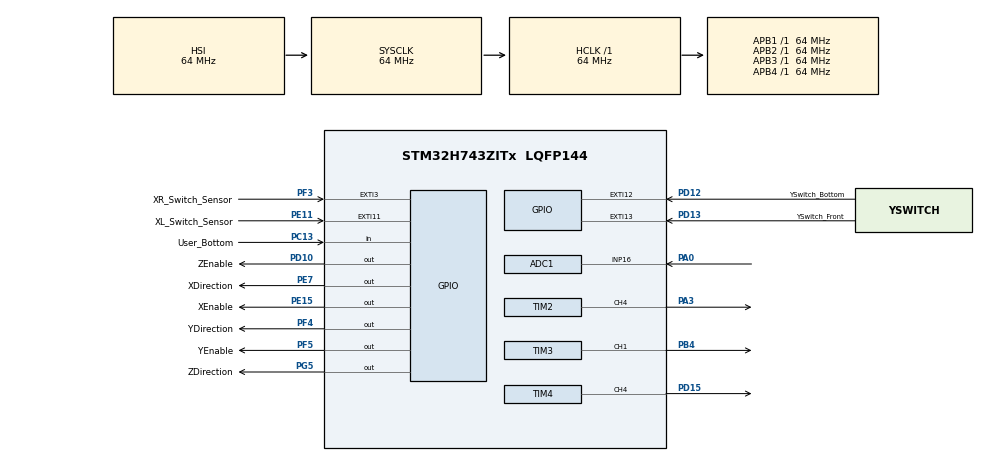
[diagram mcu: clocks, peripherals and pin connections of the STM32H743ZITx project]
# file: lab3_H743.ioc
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ADC1.Channel-0\#ChannelRegularConversion=ADC_CHANNEL_16
ADC1.NbrOfConversionFlag=1
ADC1.OffsetNumber-0\#ChannelRegularConversion=ADC_OFFSET_NONE
ADC1.OffsetSignedSaturation-0\#ChannelRegularConversion=DISABLE
ADC1.Rank-0\#ChannelRegularConversion=1
ADC1.SamplingTime-0\#ChannelRegularConversion=ADC_SAMPLETIME_1CYCLE_5
ADC1.master=1
Mcu.Family=STM32H7
Mcu.Name=STM32H743ZITx
Mcu.Package=LQFP144
NVIC.EXTI15_10_IRQn=true\:0\:0\:false\:false\:true\:true\:true\:true
NVIC.EXTI3_IRQn=true\:0\:0\:false\:false\:true\:true\:true\:true
NVIC.PriorityGroup=NVIC_PRIORITYGROUP_4
NVIC.TIM2_IRQn=true\:1\:0\:true\:false\:true\:true\:true\:true
NVIC.TIM3_IRQn=true\:1\:0\:true\:false\:true\:true\:true\:true
NVIC.TIM4_IRQn=true\:1\:0\:true\:false\:true\:true\:true\:true
PA0.Mode=IN16-Single-Ended
PA0.Signal=ADC1_INP16
PA3.Signal=S_TIM2_CH4
PB4\ (NJTRST).Signal=S_TIM3_CH1
PC13.GPIO_Label=User_Bottom
PC13.Signal=GPIO_Input
PD10.GPIO_Label=ZEnable
PD10.Signal=GPIO_Output
PD12.GPIO_Label=YSwitch_Bottom
PD12.GPIO_ModeDefaultEXTI=GPIO_MODE_IT_FALLING
PD12.Signal=GPXTI12
PD13.GPIO_Label=YSwitch_Front
PD13.GPIO_ModeDefaultEXTI=GPIO_MODE_IT_FALLING
PD13.Signal=GPXTI13
PD15.Signal=S_TIM4_CH4
PE11.GPIO_Label=XL_Switch_Sensor
PE11.GPIO_ModeDefaultEXTI=GPIO_MODE_IT_FALLING
PE11.Signal=GPXTI11
PE15.GPIO_Label=XEnable
PE15.Signal=GPIO_Output
PE7.GPIO_Label=XDirection
PE7.Signal=GPIO_Output
PF3.GPIO_Label=XR_Switch_Sensor
PF3.GPIO_ModeDefaultEXTI=GPIO_MODE_IT_FALLING
PF3.Signal=GPXTI3
PF4.GPIO_Label=YDirection
PF4.Signal=GPIO_Output
PF5.GPIO_Label=YEnable
PF5.Signal=GPIO_Output
PG5.GPIO_Label=ZDirection
PG5.Signal=GPIO_Output
ProjectManager.HeapSize=0x200
ProjectManager.StackSize=0x400
ProjectManager.TargetToolchain=STM32CubeIDE
RCC.ADCFreq_Value=75000000
RCC.APB1Freq_Value=64000000
RCC.APB2Freq_Value=64000000
RCC.APB3Freq_Value=64000000
RCC.APB4Freq_Value=64000000
RCC.CortexFreq_Value=64000000
RCC.DIVM2=4
RCC.DIVN2=9
RCC.HCLKFreq_Value=64000000
RCC.PLL2FRACN=3072
RCC.SYSCLKFreq_VALUE=64000000
RCC.USBFreq_Value=129000000
SH.S_TIM2_CH4.0=TIM2_CH4,PWM Generation4 CH4
SH.S_TIM3_CH1.0=TIM3_CH1,PWM Generation1 CH1
SH.S_TIM4_CH4.0=TIM4_CH4,PWM Generation4 CH4
TIM2.Channel-PWM\ Generation4\ CH4=TIM_CHANNEL_4
TIM2.Period=0
TIM2.Prescaler=64-1
TIM3.Channel-PWM\ Generation1\ CH1=TIM_CHANNEL_1
TIM3.Period=0
TIM3.Prescaler=64-1
TIM4.Channel-PWM\ Generation4\ CH4=TIM_CHANNEL_4
TIM4.Period=0
TIM4.Prescaler=64-1
VP_TIM2_VS_ClockSourceINT.Mode=Internal
VP_TIM3_VS_ClockSourceINT.Mode=Internal
VP_TIM4_VS_ClockSourceINT.Mode=Internal
board=custom

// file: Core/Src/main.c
/* USER CODE BEGIN Header */
/**
  ******************************************************************************
  * @file           : main.c
  * @brief          : Main program body
  ******************************************************************************
  * @attention
  *
  * Copyright (c) 2024 STMicroelectronics.
  * All rights reserved.
  *
  * This software is licensed under terms that can be found in the LICENSE file
  * in the root directory of this software component.
  * If no LICENSE file comes with this software, it is provided AS-IS.
  *
  ******************************************************************************
  */
/* USER CODE END Header */
#include "main.h"
#include "adc.h"
#include "tim.h"
#include "gpio.h"

/* USER CODE BEGIN Includes */
#include "stepmotor_def.h"
/* USER CODE END Includes */

void SystemClock_Config(void);

/* USER CODE BEGIN 0 */

void HAL_TIM_PWM_PulseFinishedCallback(TIM_HandleTypeDef *htim){
	if(htim->Instance == TIM2){
		if(circle_info.circle_lock){
			if((circle_info.circleisrunning) && (++circle_info.curpuls < circle_info.totalpuls)){
				circle_handler_method2();
			} else {
				circle_info.circleisrunning = 0;
				HAL_TIM_PWM_Stop(&htim2, TIM_CHANNEL_4);
			}
			return;
		}

#if 1	//section for normal part
		if((xstep_motor_info.muststop == 0) && (xstep_motor_info.isrunning)){
			if(++xstep_motor_info.cur_pulse >= xstep_motor_info.req_pulse){
				HAL_TIM_PWM_Stop(&htim2, TIM_CHANNEL_4);
				xstep_motor_info.isrunning = 0;
				return;
			}
#if		STARTDRAW
			else {
				/** do nothing **/
				return;
			}
#endif
			switch(xstep_motor_info.dtype){
				case LINE:
					xstep_move_handler(&xstep_motor_info, &xmotor_cnt_info, xstep_motor_info.cur_pulse);
					break;
				case CIRCLE:
					xstep_circle_handler(xstep_motor_info.cur_pulse);
					break;
				default:
					break;
			}
		} else {
			xstep_motor_info.isrunning = 0;
			HAL_TIM_PWM_Stop(&htim2, TIM_CHANNEL_4);
			return;
		}
#endif // step move

	} else if(htim->Instance == TIM3){
		if(circle_info.circle_lock){
			if((circle_info.circleisrunning) && (++circle_info.curpuls < circle_info.totalpuls)){
				circle_handler_method2();
			} else {
				circle_info.circleisrunning = 0;
				HAL_TIM_PWM_Stop(&htim3, TIM_CHANNEL_1);
			}
			return;
		}

#if 1	// section for normal part
		if((ystep_motor_info.muststop == 0) && (ystep_motor_info.isrunning)){
			if(++ystep_motor_info.cur_pulse >= ystep_motor_info.req_pulse){
				HAL_TIM_PWM_Stop(&htim3, TIM_CHANNEL_1);
				ystep_motor_info.isrunning = 0;
				return;
			}
#if		STARTDRAW
			else {
				/** do nothing **/
				return;
			}
#endif
			switch(xstep_motor_info.dtype){
				case LINE:
					ystep_move_handler(&ystep_motor_info, &ymotor_cnt_info, ystep_motor_info.cur_pulse);
					break;
				case CIRCLE:
					ystep_circle_handler(ystep_motor_info.cur_pulse);
					break;
				default:
					break;
			}
		} else {
			ystep_motor_info.isrunning = 0;
			HAL_TIM_PWM_Stop(&htim3, TIM_CHANNEL_1);
			return;
		}
#endif // step move

	} else {
		/* do nothing */
	}
}

void HAL_GPIO_EXTI_Callback(uint16_t GPIO_Pin){
	if(GPIO_Pin == XL_Switch_Sensor_Pin){
		if(xstep_motor_info.direction == XLeft_To_LX1){
		  HAL_TIM_PWM_Stop(&htim2, TIM_CHANNEL_4);
		  xstep_motor_info.l_signal = Switch_Limit_On;
		  xstep_motor_info.muststop = 1;
		}
	} else if(GPIO_Pin == XR_Switch_Sensor_Pin){
		if(xstep_motor_info.direction == XRight_To_LX2){
		  HAL_TIM_PWM_Stop(&htim2, TIM_CHANNEL_4);
		  xstep_motor_info.r_signal = Switch_Limit_On;
		  xstep_motor_info.muststop = 1;
		}
	} else if(GPIO_Pin == YSwitch_Bottom_Pin){
		if(ystep_motor_info.direction == YLeft_To_LX1_Back){
			HAL_TIM_PWM_Stop(&htim3, TIM_CHANNEL_1);
			ystep_motor_info.r_signal = Switch_Limit_On;
			ystep_motor_info.muststop = 1;
		}
	} else if(GPIO_Pin == YSwitch_Front_Pin){
		if(ystep_motor_info.direction == YRight_To_LX2_Front){
			HAL_TIM_PWM_Stop(&htim3, TIM_CHANNEL_1);
			ystep_motor_info.l_signal = Switch_Limit_On;
			ystep_motor_info.muststop = 1;
		}
	} else {
		/** do nothing **/
	}
}

/* USER CODE END 0 */

int main(void)
{
  /* USER CODE BEGIN 1 */
	  static draw_move_param movdraw[] = { [0] = {0.0, XLeft_To_LX1, 2.0, YRight_To_LX2_Front, Z_to_Down, LINE},
										   [1] = {0.0, XLeft_To_LX1, 1.0, YLeft_To_LX1_Back, Z_to_Up, LINE},
										   [2] = {1.0, XRight_To_LX2, 0.0, YLeft_To_LX1_Back, Z_to_Down, LINE},
										   [3] = {0.0, XLeft_To_LX1, 1.0, YRight_To_LX2_Front, Z_to_Up, LINE},
										   [4] = {0.0, XLeft_To_LX1, 2.0, YLeft_To_LX1_Back, Z_to_Down, LINE},  		// H character

										   [5] = {1.0, XRight_To_LX2, 1.0, YRight_To_LX2_Front, Z_to_Up, LINE}, 		// connection between H and e
										   [6] = {1.0, XRight_To_LX2, 0.0, YRight_To_LX2_Front, Z_to_Down, LINE},
										   [7] = {0.5, XLeft_To_LX1, 0.5, YRight_To_LX2_Front, Z_to_Down, CIRCLE},
										   [8] = {0.5, XLeft_To_LX1, 0.5, YLeft_To_LX1_Back, Z_to_Down, CIRCLE},
										   [9] = {0.5, XRight_To_LX2, 0.5, YLeft_To_LX1_Back, Z_to_Down, CIRCLE},		// e character

										   [10] = {1.5, XRight_To_LX2, 1.5, YRight_To_LX2_Front, Z_to_Up, LINE},		// connection between e and l
										   [11] = {0.0, XLeft_To_LX1, 1.5, YLeft_To_LX1_Back, Z_to_Down, LINE},
										   [12] = {0.5, XRight_To_LX2, 0.5, YLeft_To_LX1_Back, Z_to_Down, CIRCLE},
										   [13] = {0.5, XRight_To_LX2, 0.5, YRight_To_LX2_Front, Z_to_Down, CIRCLE}, 	// character l

										   [14] = {1.0, XRight_To_LX2, 1.5, YRight_To_LX2_Front, Z_to_Up, LINE},		// connection between l and l
										   [15] = {0.0, XLeft_To_LX1, 1.5, YLeft_To_LX1_Back, Z_to_Down, LINE},
										   [16] = {0.5, XRight_To_LX2, 0.5, YLeft_To_LX1_Back, Z_to_Down, CIRCLE},
										   [17] = {0.5, XRight_To_LX2, 0.5, YRight_To_LX2_Front, Z_to_Down, CIRCLE}, 	// character l

										   [18] = {1.5, XRight_To_LX2, 0.5, YRight_To_LX2_Front, Z_to_Up, LINE},		// connection between l and o
										   [19] = {0.5, XLeft_To_LX1, 0.5, YRight_To_LX2_Front, Z_to_Down, CIRCLE},
										   [20] = {0.5, XLeft_To_LX1, 0.5, YLeft_To_LX1_Back, Z_to_Down, CIRCLE},
										   [21] = {0.5, XRight_To_LX2, 0.5, YLeft_To_LX1_Back, Z_to_Down, CIRCLE},
										   [22] = {0.5, XRight_To_LX2, 0.5, YRight_To_LX2_Front, Z_to_Down, CIRCLE},	// character o

	  	  	  	  	  	  	  	  	  	   [23] = {8.0, XLeft_To_LX1, 6.0, YLeft_To_LX1_Back, Z_to_Up, LINE},			// connection between o and 2
										   [24] = {1.0, XLeft_To_LX1, 0.0, YRight_To_LX2_Front, Z_to_Down, LINE},
										   [25] = {1.0, XRight_To_LX2, 2.0, YRight_To_LX2_Front, Z_to_Down, LINE},
										   [26] = {0.5, XLeft_To_LX1, 0.5, YRight_To_LX2_Front, Z_to_Down, CIRCLE},
										   [27] = {0.5, XLeft_To_LX1, 0.5, YLeft_To_LX1_Back, Z_to_Down, CIRCLE},		// num 2

										   [28] = {3.0, XRight_To_LX2, 0.0, YLeft_To_LX1_Back, Z_to_Up, LINE},		 	// connection between 2 to 9
										   [29] = {0.5, XLeft_To_LX1, 0.5, YRight_To_LX2_Front, Z_to_Down, CIRCLE},
										   [30] = {0.5, XLeft_To_LX1, 0.5, YLeft_To_LX1_Back, Z_to_Down, CIRCLE},
										   [31] = {0.5, XRight_To_LX2, 0.5, YLeft_To_LX1_Back, Z_to_Down, CIRCLE},
										   [32] = {0.5, XRight_To_LX2, 0.5, YRight_To_LX2_Front, Z_to_Down, CIRCLE},
										   [33] = {0.0, XRight_To_LX2, 2.0, YLeft_To_LX1_Back, Z_to_Down, LINE},		// num 9

	  	  	  	  	  	  	  	  	  	   [34] = {2.0, XRight_To_LX2, 0.0, YLeft_To_LX1_Back, Z_to_Up, LINE},			// connection between o and 2
										   [35] = {1.0, XLeft_To_LX1, 0.0, YRight_To_LX2_Front, Z_to_Down, LINE},
										   [36] = {1.0, XRight_To_LX2, 2.0, YRight_To_LX2_Front, Z_to_Down, LINE},
										   [37] = {0.5, XLeft_To_LX1, 0.5, YRight_To_LX2_Front, Z_to_Down, CIRCLE},
										   [38] = {0.5, XLeft_To_LX1, 0.5, YLeft_To_LX1_Back, Z_to_Down, CIRCLE},		// num 2

										   [39] = {4.0, XRight_To_LX2, 1.0, YLeft_To_LX1_Back, Z_to_Up, LINE},			// connection between 2 and o
										   [40] = {1.0, XLeft_To_LX1, 1.0, YRight_To_LX2_Front, Z_to_Down, CIRCLE},
										   [41] = {1.0, XLeft_To_LX1, 1.0, YLeft_To_LX1_Back, Z_to_Down, CIRCLE},
										   [42] = {1.0, XRight_To_LX2, 1.0, YLeft_To_LX1_Back, Z_to_Down, CIRCLE},
										   [43] = {1.0, XRight_To_LX2, 1.0, YRight_To_LX2_Front, Z_to_Down, CIRCLE},	// character o

	  	  	  	  	  	  	  	  	  	   [44] = {1.0, XRight_To_LX2, 1.0, YRight_To_LX2_Front, Z_to_Up, LINE},		// connection between o and f
										   [45] = {1.0, XRight_To_LX2, 0.0, YLeft_To_LX1_Back, Z_to_Down, LINE},
										   [46] = {1.0, XLeft_To_LX1, 0.0, YLeft_To_LX1_Back, Z_to_Up, LINE},
										   [47] = {0.0, XLeft_To_LX1, 1.0, YLeft_To_LX1_Back, Z_to_Down, LINE},
										   [48] = {1.0, XRight_To_LX2, 0.0, YLeft_To_LX1_Back, Z_to_Down, LINE},
										   [49] = {1.0, XLeft_To_LX1, 0.0, YLeft_To_LX1_Back, Z_to_Up, LINE},
										   [50] = {0.0, XLeft_To_LX1, 1.0, YLeft_To_LX1_Back, Z_to_Down, LINE},

	  };

  /* USER CODE END 1 */

  /* MCU Configuration--------------------------------------------------------*/

  /* Reset of all peripherals, Initializes the Flash interface and the Systick. */
  HAL_Init();

  /* Configure the system clock */
  SystemClock_Config();

  /* Initialize all configured peripherals */
  MX_GPIO_Init();
  MX_TIM2_Init();
  MX_TIM3_Init();
  MX_TIM4_Init();
  MX_ADC1_Init();
  /* USER CODE BEGIN 2 */

  uint8_t buttom_sig = 0;
  while(!buttom_sig){
	buttom_sig = HAL_GPIO_ReadPin(User_Bottom_GPIO_Port, User_Bottom_Pin);
	HAL_Delay(20);
	if(buttom_sig){
		buttom_sig = 0;
		break;
	}
  }

#if		CALIBRATION
  calibrate_xymotor();
#endif

  calibrate_pen();
  /* USER CODE END 2 */

  /* Infinite loop */
  /* USER CODE BEGIN WHILE */
  while (1)
  {
    while(!buttom_sig){
	  buttom_sig = HAL_GPIO_ReadPin(User_Bottom_GPIO_Port, User_Bottom_Pin);
	  HAL_Delay(30);
	  if(buttom_sig){
		buttom_sig = 0;
		break;
	  }
    }

    /* USER CODE END WHILE */

    /* USER CODE BEGIN 3 */
#if 1
    int sz = sizeof(movdraw) / sizeof(draw_move_param);
    for(int i = 0; i < sz; i++){
    	draw_move_param cur = movdraw[i];
    	switch(cur.dtype){
    		case LINE:
//    			line_move(cur.xlen, cur.xdir, cur.ylen, cur.ydir, cur.pendir);
    			line_move_method2(cur.xlen, cur.xdir, cur.ylen, cur.ydir, cur.pendir);

    			while((xstep_motor_info.isrunning) || (ystep_motor_info.isrunning)){
    				HAL_Delay(20);
    			}
    			break;

    		case CIRCLE:
    			circle_move_method2(cur.xlen, cur.xdir, cur.ylen, cur.ydir, cur.pendir);

    			while(circle_info.circleisrunning){
    				HAL_Delay(20);
    			}
    			circle_info.circle_lock = 0;
    			break;

    		default:
    			/* do nothing */
    		break;
    	}
    }
#endif

#if 0	// draw a circle
	circle_move_method2(3.0, XLeft_To_LX1, 3.0, YRight_To_LX2_Front, Z_to_Down);
	while(circle_info.circleisrunning){
		HAL_Delay(50);
	}
	circle_info.circle_lock = 0;

	circle_move_method2(3.0, XLeft_To_LX1, 3.0, YLeft_To_LX1_Back, Z_to_Down);
	while(circle_info.circleisrunning){
		HAL_Delay(50);
	}
	circle_info.circle_lock = 0;

	circle_move_method2(3.0, XRight_To_LX2, 3.0, YLeft_To_LX1_Back, Z_to_Down);
	while(circle_info.circleisrunning){
		HAL_Delay(50);
	}
	circle_info.circle_lock = 0;

	circle_move_method2(3.0, XRight_To_LX2, 3.0, YRight_To_LX2_Front, Z_to_Down);
	while(circle_info.circleisrunning){
		HAL_Delay(50);
	}
	circle_info.circle_lock = 0;
#endif

	line_move(0.0, XRight_To_LX2, 0.0, YRight_To_LX2_Front, Z_to_Up);
  }
  /* USER CODE END 3 */
}

void SystemClock_Config(void)
{
  RCC_OscInitTypeDef RCC_OscInitStruct = {0};
  RCC_ClkInitTypeDef RCC_ClkInitStruct = {0};

  /** Supply configuration update enable
  */
  HAL_PWREx_ConfigSupply(PWR_LDO_SUPPLY);

  /** Configure the main internal regulator output voltage
  */
  __HAL_PWR_VOLTAGESCALING_CONFIG(PWR_REGULATOR_VOLTAGE_SCALE3);

  while(!__HAL_PWR_GET_FLAG(PWR_FLAG_VOSRDY)) {}

  /** Macro to configure the PLL clock source
  */
  __HAL_RCC_PLL_PLLSOURCE_CONFIG(RCC_PLLSOURCE_HSI);

  /** Initializes the RCC Oscillators according to the specified parameters
  * in the RCC_OscInitTypeDef structure.
  */
  RCC_OscInitStruct.OscillatorType = RCC_OSCILLATORTYPE_HSI;
  RCC_OscInitStruct.HSIState = RCC_HSI_DIV1;
  RCC_OscInitStruct.HSICalibrationValue = RCC_HSICALIBRATION_DEFAULT;
  RCC_OscInitStruct.PLL.PLLState = RCC_PLL_NONE;
  if (HAL_RCC_OscConfig(&RCC_OscInitStruct) != HAL_OK)
  {
    Error_Handler();
  }

  /** Initializes the CPU, AHB and APB buses clocks
  */
  RCC_ClkInitStruct.ClockType = RCC_CLOCKTYPE_HCLK|RCC_CLOCKTYPE_SYSCLK
                              |RCC_CLOCKTYPE_PCLK1|RCC_CLOCKTYPE_PCLK2
                              |RCC_CLOCKTYPE_D3PCLK1|RCC_CLOCKTYPE_D1PCLK1;
  RCC_ClkInitStruct.SYSCLKSource = RCC_SYSCLKSOURCE_HSI;
  RCC_ClkInitStruct.SYSCLKDivider = RCC_SYSCLK_DIV1;
  RCC_ClkInitStruct.AHBCLKDivider = RCC_HCLK_DIV1;
  RCC_ClkInitStruct.APB3CLKDivider = RCC_APB3_DIV1;
  RCC_ClkInitStruct.APB1CLKDivider = RCC_APB1_DIV1;
  RCC_ClkInitStruct.APB2CLKDivider = RCC_APB2_DIV1;
  RCC_ClkInitStruct.APB4CLKDivider = RCC_APB4_DIV1;

  if (HAL_RCC_ClockConfig(&RCC_ClkInitStruct, FLASH_LATENCY_1) != HAL_OK)
  {
    Error_Handler();
  }
}

void Error_Handler(void)
{
  __disable_irq();
  while (1)
  {
  }
}
